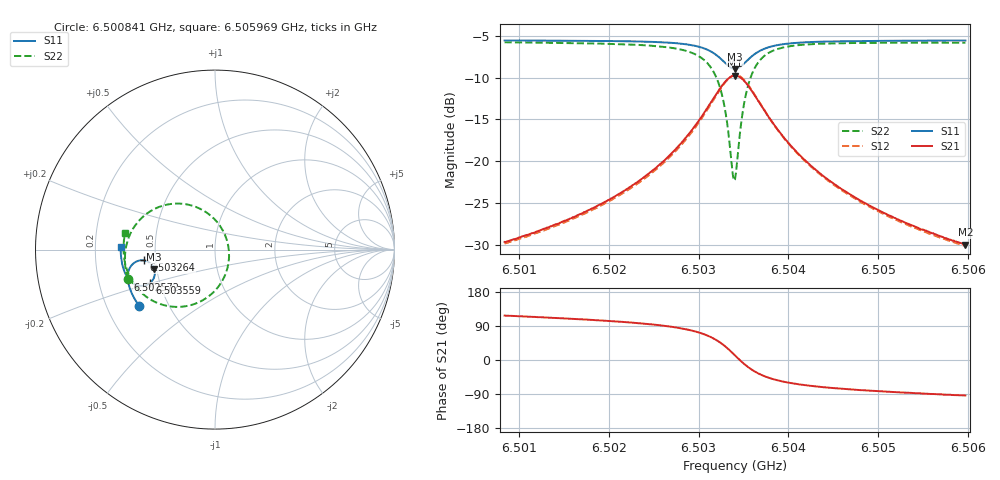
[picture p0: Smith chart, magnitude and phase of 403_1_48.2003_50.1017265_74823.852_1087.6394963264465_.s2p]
#  HZ  S  RI  R  50.00
! Rohde & Schwarz Vector Network Analyzer
! Rohde-Schwarz,ZNB20-2Port,1311601062101988,3.16
! Created: UTC 3/20/2024, 11:54:06 AM
! freq[Hz]  re:S11  im:S11  re:S21  im:S21  re:S12  im:S12  re:S22  im:S22
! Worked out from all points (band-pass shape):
!   401 points, 6.500841 GHz to 6.505969 GHz, reference 50 ohm
!   highest |S21| = -9.77 dB at 6.503405 GHz (marker M1); lowest = -30.0 dB at 6.505969 GHz (marker M2)
!   |S21| within 3 dB of the highest: 6.50315 GHz to 6.503662 GHz (512.7 kHz wide, 0.00788 % of centre)
!   lowest |S11| = -9.0 dB at 6.503405 GHz (marker M3), VSWR 2.10, Z = 24.2 - j6.04 ohm
!   |S11| at or under -10 dB: nowhere
!   |S22| runs from -22.3 to -5.8 dB; largest |S21 - S12| = 0.011
!   S11 on the Smith chart (normalised r, x): 6.500841 GHz: 0.34, -0.30; 6.502572 GHz: 0.33, -0.15; 6.503264 GHz: 0.43, -0.06; 6.503559 GHz: 0.44, -0.20; 6.505969 GHz: 0.31, +0.01
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6.5008414e9  -0.4211 -0.316  -0.0151 0.0293  -0.0133 0.0294  -0.4864 -0.1643
6.5017003e9  -0.4588 -0.2534  -0.0145 0.0466  -0.0121 0.0463  -0.5014 -0.0748
6.5021747e9  -0.476 -0.2119  -0.0117 0.0658  -0.00879 0.0646  -0.4992 -0.00875
6.5025593e9  -0.4856 -0.1701  -0.00307 0.0949  0.000489 0.0925  -0.4809 0.066
6.5025721e9  -0.4857 -0.1685  -0.00252 0.0961  0.00112 0.0938  -0.48 0.0692
6.5028157e9  -0.4851 -0.1334  0.0155 0.129  0.0194 0.1253  -0.4417 0.1387
6.5029952e9  -0.4738 -0.1002  0.0498 0.165  0.0531 0.1598  -0.3741 0.2046
6.5031618e9  -0.4393 -0.0672  0.1269 0.1984  0.1281 0.1921  -0.233 0.2555
6.5032644e9  -0.397 -0.0601  0.2116 0.19  0.2117 0.1847  -0.0857 0.2287
6.5033157e9  -0.3715 -0.0685  0.2597 0.1625  0.2605 0.158  -0.00561 0.1723
6.5033798e9  -0.3449 -0.0945  0.3075 0.0997  0.3098 0.095  0.0665 0.0517
6.5034054e9  -0.3385 -0.109  0.3176 0.068  0.3207 0.0623  0.0776 -0.00751
6.503431e9  -0.3355 -0.1244  0.3216 0.0348  0.3249 0.028  0.0763 -0.0682
6.5034951e9  -0.3423 -0.1611  0.3041 -0.0425  0.3062 -0.0522  0.0223 -0.2021
6.5035592e9  -0.3632 -0.1868  0.262 -0.0963  0.261 -0.1073  -0.0727 -0.2846
6.5036618e9  -0.4021 -0.2021  0.1883 -0.1325  0.1831 -0.1418  -0.2208 -0.3191
6.5038285e9  -0.4479 -0.1924  0.1076 -0.1299  0.1007 -0.1348  -0.3667 -0.2736
6.5040079e9  -0.4753 -0.1711  0.0634 -0.1102  0.0575 -0.1125  -0.4381 -0.2096
6.5042643e9  -0.4959 -0.1412  0.0338 -0.0863  0.0291 -0.0868  -0.4811 -0.138
6.5046361e9  -0.5112 -0.1027  0.0154 -0.0642  0.012 -0.0638  -0.5033 -0.0655
6.5051233e9  -0.5209 -0.058  0.00506 -0.0471  0.00293 -0.0465  -0.5099 0.00207
6.5059694e9  -0.5257 0.0133  -0.00204 -0.0317  -0.0034 -0.0309  -0.5018 0.0906
